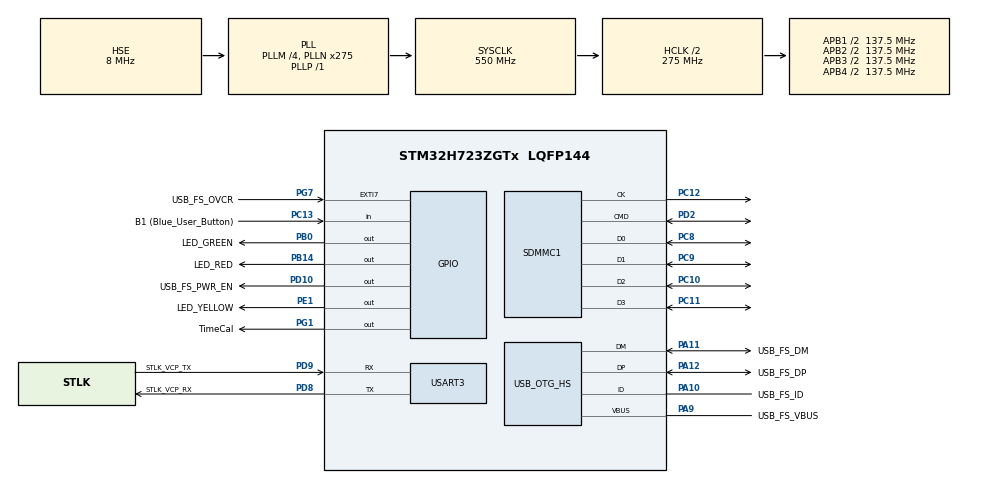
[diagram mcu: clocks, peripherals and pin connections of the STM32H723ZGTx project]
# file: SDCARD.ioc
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CORTEX_M7.CPU_DCache=Disabled
CORTEX_M7.CPU_ICache=Disabled
CORTEX_M7.Enable-Cortex_Memory_Protection_Unit_Region0_Settings=MPU_REGION_ENABLE
CORTEX_M7.MPU_Control=__NULL
FATFS.BSP.number=1
FATFS.USE_DMA_CODE_SD=1
FATFS._MAX_SS=512
FATFS0.BSP.STBoard=false
FATFS0.BSP.api=Unknown
FATFS0.BSP.i2caddr=0
FATFS0.BSP.instance=PC13
FATFS0.BSP.ip=GPIO
FATFS0.BSP.mode=Input
FATFS0.BSP.name=Detect_SDIO
FATFS0.BSP.solution=PC13
FREERTOS.Tasks01=SD_INT,23,8192,StartDefaultTask,Default,NULL,Dynamic,NULL,NULL;TimeCal,24,128,StartTimeCal,Default,NULL,Dynamic,NULL,NULL
FREERTOS.configENABLE_FPU=1
FREERTOS.configTOTAL_HEAP_SIZE=75000
FREERTOS.configUSE_NEWLIB_REENTRANT=1
Mcu.Family=STM32H7
Mcu.Name=STM32H723ZGTx
Mcu.Package=LQFP144
Mdma.MDMA_Channel0.Request0=SDMMC1_END_DATA
Mdma.MDMA_Channel0.RequestsNb=1
Mdma.MDMA_Channel0.SDMMC1_END_DATA.0.BlockCount=0
Mdma.MDMA_Channel0.SDMMC1_END_DATA.0.BlockDataLength=0
Mdma.MDMA_Channel0.SDMMC1_END_DATA.0.BufferTransferLength=1
Mdma.MDMA_Channel0.SDMMC1_END_DATA.0.CircularMode=MDMA_LINEAR_LIST
Mdma.MDMA_Channel0.SDMMC1_END_DATA.0.DataAlignment=MDMA_DATAALIGN_PACKENABLE
Mdma.MDMA_Channel0.SDMMC1_END_DATA.0.DestBlockAddressOffset=0
Mdma.MDMA_Channel0.SDMMC1_END_DATA.0.DestBurst=MDMA_DEST_BURST_SINGLE
Mdma.MDMA_Channel0.SDMMC1_END_DATA.0.DestDataSize=MDMA_DEST_DATASIZE_BYTE
Mdma.MDMA_Channel0.SDMMC1_END_DATA.0.DestinationInc=MDMA_DEST_INC_BYTE
Mdma.MDMA_Channel0.SDMMC1_END_DATA.0.DstAddress=0
Mdma.MDMA_Channel0.SDMMC1_END_DATA.0.Endianness=MDMA_LITTLE_ENDIANNESS_PRESERVE
Mdma.MDMA_Channel0.SDMMC1_END_DATA.0.Instance=MDMA_Channel0
Mdma.MDMA_Channel0.SDMMC1_END_DATA.0.MaskAddress=0
Mdma.MDMA_Channel0.SDMMC1_END_DATA.0.MaskData=0
Mdma.MDMA_Channel0.SDMMC1_END_DATA.0.Priority=MDMA_PRIORITY_HIGH
Mdma.MDMA_Channel0.SDMMC1_END_DATA.0.Rank=First
Mdma.MDMA_Channel0.SDMMC1_END_DATA.0.SourceBlockAddressOffset=0
Mdma.MDMA_Channel0.SDMMC1_END_DATA.0.SourceBurst=MDMA_SOURCE_BURST_SINGLE
Mdma.MDMA_Channel0.SDMMC1_END_DATA.0.SourceDataSize=MDMA_SRC_DATASIZE_BYTE
Mdma.MDMA_Channel0.SDMMC1_END_DATA.0.SourceInc=MDMA_SRC_INC_BYTE
Mdma.MDMA_Channel0.SDMMC1_END_DATA.0.SrcAddress=0
Mdma.MDMA_Channel0.SDMMC1_END_DATA.0.TransferTriggerMode=MDMA_BUFFER_TRANSFER
Mdma.RequestSet0=MDMA_Channel0
Mdma.RequestSetsNb=1
NVIC.MDMA_IRQn=true\:5\:0\:true\:false\:true\:true\:true\:true
NVIC.PriorityGroup=NVIC_PRIORITYGROUP_4
NVIC.SDMMC1_IRQn=true\:5\:0\:true\:false\:true\:true\:true\:true
NVIC.TIM1_UP_IRQn=true\:15\:0\:false\:false\:true\:false\:true\:true
NVIC.TimeBase=TIM1_UP_IRQn
NVIC.TimeBaseIP=TIM1
PA1.GPIO_Label=RMII_REF_CLK
PA1.Signal=ETH_REF_CLK
PA10.GPIO_Label=USB_FS_ID
PA10.Mode=OTG/Dual-Role-Device-FS
PA10.Signal=USB_OTG_HS_ID
PA11.GPIO_Label=USB_FS_DM
PA11.Mode=OTG/Dual-Role-Device-FS
PA11.Signal=USB_OTG_HS_DM
PA12.GPIO_Label=USB_FS_DP
PA12.Mode=OTG/Dual-Role-Device-FS
PA12.Signal=USB_OTG_HS_DP
PA13(JTMS/SWDIO).GPIO_Label=SWDIO
PA13(JTMS/SWDIO).Mode=Trace_Asynchronous_SW
PA13(JTMS/SWDIO).Signal=DEBUG_JTMS-SWDIO
PA14(JTCK/SWCLK).GPIO_Label=SWCLK
PA14(JTCK/SWCLK).Mode=Trace_Asynchronous_SW
PA14(JTCK/SWCLK).Signal=DEBUG_JTCK-SWCLK
PA2.GPIO_Label=RMII_MDIO
PA2.Signal=ETH_MDIO
PA7.GPIO_Label=RMII_CRS_DV
PA7.Signal=ETH_CRS_DV
PA9.GPIO_Label=USB_FS_VBUS
PA9.Mode=Activate_VBUS_FS
PA9.Signal=USB_OTG_HS_VBUS
PB0.GPIO_Label=LED_GREEN
PB0.Signal=GPIO_Output
PB13.GPIO_Label=RMII_TXD1
PB13.Signal=ETH_TXD1
PB14.GPIO_Label=LED_RED
PB14.Signal=GPIO_Output
PB3(JTDO/TRACESWO).GPIO_Label=SWO
PB3(JTDO/TRACESWO).Mode=Trace_Asynchronous_SW
PB3(JTDO/TRACESWO).Signal=DEBUG_JTDO-SWO
PC1.GPIO_Label=RMII_MDC
PC1.Signal=ETH_MDC
PC10.Mode=SD_4_bits_Wide_bus
PC10.Signal=SDMMC1_D2
PC11.Mode=SD_4_bits_Wide_bus
PC11.Signal=SDMMC1_D3
PC12.Mode=SD_4_bits_Wide_bus
PC12.Signal=SDMMC1_CK
PC13.GPIO_Label=B1 (Blue_User_Button)
PC13.Signal=GPIO_Input
PC14-OSC32_IN.Mode=LSE-External-Oscillator
PC14-OSC32_IN.Signal=RCC_OSC32_IN
PC15-OSC32_OUT.Mode=LSE-External-Oscillator
PC15-OSC32_OUT.Signal=RCC_OSC32_OUT
PC4.GPIO_Label=RMII_RXD0
PC4.Signal=ETH_RXD0
PC5.GPIO_Label=RMII_RXD1
PC5.Signal=ETH_RXD1
PC8.Mode=SD_4_bits_Wide_bus
PC8.Signal=SDMMC1_D0
PC9.Mode=SD_4_bits_Wide_bus
PC9.Signal=SDMMC1_D1
PD10.GPIO_Label=USB_FS_PWR_EN
PD10.Signal=GPIO_Output
PD2.Mode=SD_4_bits_Wide_bus
PD2.Signal=SDMMC1_CMD
PD8.GPIO_Label=STLK_VCP_RX
PD8.Mode=Asynchronous
PD8.Signal=USART3_TX
PD9.GPIO_Label=STLK_VCP_TX
PD9.Mode=Asynchronous
PD9.Signal=USART3_RX
PE1.GPIO_Label=LED_YELLOW
PE1.Signal=GPIO_Output
PG1.GPIO_Label=TimeCal
PG1.PinState=GPIO_PIN_SET
PG1.Signal=GPIO_Output
PG11.GPIO_Label=RMII_TX_EN
PG11.Signal=ETH_TX_EN
PG13.GPIO_Label=RMII_TXD0
PG13.Signal=ETH_TXD0
PG7.GPIO_Label=USB_FS_OVCR
PG7.Signal=GPXTI7
PH0-OSC_IN.GPIO_Label=MCO
PH0-OSC_IN.Mode=HSE-External-Clock-Source
PH0-OSC_IN.Signal=RCC_OSC_IN
PH1-OSC_OUT.Signal=RCC_OSC_OUT
ProjectManager.HeapSize=0x400
ProjectManager.StackSize=0x800
ProjectManager.TargetToolchain=STM32CubeIDE
RCC.ADCCLockSelection=RCC_ADCCLKSOURCE_PLL2
RCC.ADCFreq_Value=100000000
RCC.APB1Freq_Value=137500000
RCC.APB2Freq_Value=137500000
RCC.APB3Freq_Value=137500000
RCC.APB4Freq_Value=137500000
RCC.CECCLockSelection=RCC_CECCLKSOURCE_LSI
RCC.CKPERSourceSelection=RCC_CLKPSOURCE_HSI
RCC.CSI_VALUE=4000000
RCC.CortexFreq_Value=550000000
RCC.Cortex_DivARG=SystemCoreClock/1000
RCC.D1PPRE=RCC_APB3_DIV2
RCC.D2PPRE1=RCC_APB1_DIV2
RCC.D2PPRE2=RCC_APB2_DIV2
RCC.D3PPRE=RCC_APB4_DIV2
RCC.DFSDMCLockSelection=RCC_DFSDM1CLKSOURCE_D2PCLK1
RCC.DIVM1=4
RCC.DIVM2=1
RCC.DIVN1=275
RCC.DIVN2=25
RCC.DIVP1=1
RCC.DIVQ1=5
RCC.DSICLockSelection=RCC_DSICLKSOURCE_PHY
RCC.DSIPHY_Div=8
RCC.DSITX_Div=4
RCC.DSI_PHY_VALUE=12288000
RCC.EXTERNAL_CLOCK_VALUE=12288000
RCC.FDCANCLockSelection=RCC_FDCANCLKSOURCE_PLL
RCC.FMCCLockSelection=RCC_FMCCLKSOURCE_D1HCLK
RCC.HCLKFreq_Value=275000000
RCC.HPRE=RCC_HCLK_DIV2
RCC.HSE_VALUE=8000000
RCC.HSI48_VALUE=48000000
RCC.HSI_VALUE=64000000
RCC.I2C123CLockSelection=RCC_I2C1235CLKSOURCE_D2PCLK1
RCC.I2C4CLockSelection=RCC_I2C4CLKSOURCE_D3PCLK1
RCC.LPTIM1CLockSelection=RCC_LPTIM1CLKSOURCE_D2PCLK1
RCC.LPTIM2CLockSelection=RCC_LPTIM2CLKSOURCE_D3PCLK1
RCC.LPTIM345CLockSelection=RCC_LPTIM345CLKSOURCE_D3PCLK1
RCC.LPUART1CLockSelection=RCC_LPUART1CLKSOURCE_D3PCLK1
RCC.PLL2FRACN=0
RCC.PLL3FRACN=0
RCC.PLLDSIDev=2
RCC.PLLDSIIDF=DSI_PLL_IN_DIV1
RCC.PLLDSIMult=2
RCC.PLLDSINDIV=20
RCC.PLLDSIODF=DSI_PLL_OUT_DIV1
RCC.PLLFRACN=0
RCC.PLLSourceVirtual=RCC_PLLSOURCE_HSE
RCC.QSPICLockSelection=RCC_OSPICLKSOURCE_D1HCLK
RCC.RCC_MCO1Source=RCC_MCO1SOURCE_HSI
RCC.RCC_MCO2Source=RCC_MCO2SOURCE_SYSCLK
RCC.RNGCLockSelection=RCC_RNGCLKSOURCE_HSI48
RCC.SAI1CLockSelection=RCC_SAI1CLKSOURCE_PLL
RCC.SAI4ACLockSelection=RCC_SAI4ACLKSOURCE_PLL
RCC.SAI4BCLockSelection=RCC_SAI4BCLKSOURCE_PLL
RCC.SDMMC1CLockSelection=RCC_SDMMCCLKSOURCE_PLL2
RCC.SPDIFCLockSelection=RCC_SPDIFRXCLKSOURCE_PLL
RCC.SPI123CLockSelection=RCC_SPI123CLKSOURCE_PLL
RCC.SPI6CLockSelection=RCC_SPI6CLKSOURCE_D3PCLK1
RCC.SWPCLockSelection=RCC_SWPMI1CLKSOURCE_D2PCLK1
RCC.SYSCLKFreq_VALUE=550000000
RCC.SYSCLKSource=RCC_SYSCLKSOURCE_PLLCLK
RCC.Spi45ClockSelection=RCC_SPI45CLKSOURCE_D2PCLK1
RCC.USART16CLockSelection=RCC_USART16910CLKSOURCE_D2PCLK2
RCC.USART234578CLockSelection=RCC_USART234578CLKSOURCE_D2PCLK1
RCC.USBCLockSelection=RCC_USBCLKSOURCE_HSI48
RCC.USBFreq_Value=48000000
SDMMC1.ClockDiv=1
SDMMC1.ClockPowerSave=SDMMC_CLOCK_POWER_SAVE_ENABLE
USART3.VirtualMode-Asynchronous=VM_ASYNC
VP_FATFS_VS_SDIO.Mode=SDIO
VP_FREERTOS_VS_CMSIS_V2.Mode=CMSIS_V2
VP_SYS_VS_tim1.Mode=TIM1
board=NUCLEO-H723ZG

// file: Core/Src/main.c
/* USER CODE BEGIN Header */
/**
  ******************************************************************************
  * @file           : main.c
  * @brief          : Main program body
  ******************************************************************************
  * @attention
  *
  * Copyright (c) 2022 STMicroelectronics.
  * All rights reserved.
  *
  * This software is licensed under terms that can be found in the LICENSE file
  * in the root directory of this software component.
  * If no LICENSE file comes with this software, it is provided AS-IS.
  *
  ******************************************************************************
  */
/* USER CODE END Header */
#include "main.h"
#include "cmsis_os.h"
#include "fatfs.h"

/* USER CODE BEGIN Includes */
#include "commands.h"
#include "stdio.h"
#include "helpercmd.h"
#include "SDInterface.h"
#include "string.h"
/* USER CODE END Includes */

/* USER CODE BEGIN PTD */
#define chunk_mult 64
#define chunk_size 512*chunk_mult
/* USER CODE END PTD */

/* USER CODE BEGIN PD */
void WriteTime();
static void FS_SPAM(void);
static void FS_MOUNT(void);
/* USER CODE END PD */

/* USER CODE BEGIN PM */
static uint8_t isInitialized = 0;
static uint8_t isFsCreated = 1;
/* USER CODE END PM */

SD_HandleTypeDef hsd1;

UART_HandleTypeDef huart3;

MDMA_HandleTypeDef hmdma_mdma_channel40_sdmmc1_end_data_0;
/* Definitions for SD_INT */
osThreadId_t SD_INTHandle;
const osThreadAttr_t SD_INT_attributes = {
  .name = "SD_INT",
  .stack_size = 8192 * 4,
  .priority = (osPriority_t) osPriorityBelowNormal7,
};
/* Definitions for TimeCal */
osThreadId_t TimeCalHandle;
const osThreadAttr_t TimeCal_attributes = {
  .name = "TimeCal",
  .stack_size = 128 * 4,
  .priority = (osPriority_t) osPriorityNormal,
};
/* USER CODE BEGIN PV */
uint8_t workBuffer[_MAX_SS];
/* USER CODE END PV */

void SystemClock_Config(void);
static void MX_GPIO_Init(void);
static void MX_USART3_UART_Init(void);
static void MX_MDMA_Init(void);
static void MX_SDMMC1_SD_Init(void);
static void MX_USB_OTG_HS_USB_Init(void);
void StartDefaultTask(void *argument);
void StartTimeCal(void *argument);

/* USER CODE BEGIN 0 */
FRESULT res;
uint32_t byteswritten, bytesread;

//char wtext[chunk_size]={0};

char text[] = "empty place holder that needs length";
const char * file_name[] = {"MyFile.hex"};
//uint8_t rtext[_MAX_SS];

// SD card variables for FATFS
extern char SDPath[4]; 	/* SD logical drive path */
extern FATFS SDFatFS;	/* File system object for SD logical drive */
extern FIL SDFile;		/* File object for SD */

FRESULT res;
uint32_t byteswritten, bytesread;
uint8_t stext[chunk_size] = "This is me, and my own world";
uint8_t rtext[100];
/* USER CODE END 0 */

int main(void)
{
  /* USER CODE BEGIN 1 */
	HalfKBWrite(stext,chunk_mult);
  /* USER CODE END 1 */

  /* MCU Configuration--------------------------------------------------------*/

  /* Reset of all peripherals, Initializes the Flash interface and the Systick. */
  HAL_Init();

  /* Configure the system clock */
  SystemClock_Config();

  /* Initialize all configured peripherals */
  MX_GPIO_Init();
  MX_USART3_UART_Init();
  MX_MDMA_Init();
  MX_SDMMC1_SD_Init();
  MX_FATFS_Init();
  MX_USB_OTG_HS_USB_Init();
  /* USER CODE BEGIN 2 */

	HAL_GPIO_WritePin(LED_GREEN_GPIO_Port,LED_GREEN_Pin,SET);
  /* USER CODE END 2 */

  /* Init scheduler */
  osKernelInitialize();

  /* Create the thread(s) */
  /* creation of SD_INT */
  SD_INTHandle = osThreadNew(StartDefaultTask, NULL, &SD_INT_attributes);

  /* creation of TimeCal */
  TimeCalHandle = osThreadNew(StartTimeCal, NULL, &TimeCal_attributes);

  /* Start scheduler */
  osKernelStart();

  /* We should never get here as control is now taken by the scheduler */
  /* Infinite loop */
  /* USER CODE BEGIN WHILE */

//  char str[80]={0};
//  HAL_UART_Transmit(&huart3, (uint8_t*)str, sprintf(str, "time taken %d \r\n", timestop-timestart), 10);
  Error_Handler();
    while (1)
  {

    /* USER CODE END WHILE */

  }
}

void SystemClock_Config(void)
{
  RCC_OscInitTypeDef RCC_OscInitStruct = {0};
  RCC_ClkInitTypeDef RCC_ClkInitStruct = {0};

  /** Supply configuration update enable
  */
  HAL_PWREx_ConfigSupply(PWR_LDO_SUPPLY);
  /** Configure the main internal regulator output voltage
  */
  __HAL_PWR_VOLTAGESCALING_CONFIG(PWR_REGULATOR_VOLTAGE_SCALE0);

  while(!__HAL_PWR_GET_FLAG(PWR_FLAG_VOSRDY)) {}
  /** Macro to configure the PLL clock source
  */
  __HAL_RCC_PLL_PLLSOURCE_CONFIG(RCC_PLLSOURCE_HSE);
  /** Initializes the RCC Oscillators according to the specified parameters
  * in the RCC_OscInitTypeDef structure.
  */
  RCC_OscInitStruct.OscillatorType = RCC_OSCILLATORTYPE_HSI48|RCC_OSCILLATORTYPE_HSE;
  RCC_OscInitStruct.HSEState = RCC_HSE_BYPASS;
  RCC_OscInitStruct.HSI48State = RCC_HSI48_ON;
  RCC_OscInitStruct.PLL.PLLState = RCC_PLL_ON;
  RCC_OscInitStruct.PLL.PLLSource = RCC_PLLSOURCE_HSE;
  RCC_OscInitStruct.PLL.PLLM = 4;
  RCC_OscInitStruct.PLL.PLLN = 275;
  RCC_OscInitStruct.PLL.PLLP = 1;
  RCC_OscInitStruct.PLL.PLLQ = 5;
  RCC_OscInitStruct.PLL.PLLR = 2;
  RCC_OscInitStruct.PLL.PLLRGE = RCC_PLL1VCIRANGE_1;
  RCC_OscInitStruct.PLL.PLLVCOSEL = RCC_PLL1VCOWIDE;
  RCC_OscInitStruct.PLL.PLLFRACN = 0;
  if (HAL_RCC_OscConfig(&RCC_OscInitStruct) != HAL_OK)
  {
    Error_Handler();
  }
  /** Initializes the CPU, AHB and APB buses clocks
  */
  RCC_ClkInitStruct.ClockType = RCC_CLOCKTYPE_HCLK|RCC_CLOCKTYPE_SYSCLK
                              |RCC_CLOCKTYPE_PCLK1|RCC_CLOCKTYPE_PCLK2
                              |RCC_CLOCKTYPE_D3PCLK1|RCC_CLOCKTYPE_D1PCLK1;
  RCC_ClkInitStruct.SYSCLKSource = RCC_SYSCLKSOURCE_PLLCLK;
  RCC_ClkInitStruct.SYSCLKDivider = RCC_SYSCLK_DIV1;
  RCC_ClkInitStruct.AHBCLKDivider = RCC_HCLK_DIV2;
  RCC_ClkInitStruct.APB3CLKDivider = RCC_APB3_DIV2;
  RCC_ClkInitStruct.APB1CLKDivider = RCC_APB1_DIV2;
  RCC_ClkInitStruct.APB2CLKDivider = RCC_APB2_DIV2;
  RCC_ClkInitStruct.APB4CLKDivider = RCC_APB4_DIV2;

  if (HAL_RCC_ClockConfig(&RCC_ClkInitStruct, FLASH_LATENCY_3) != HAL_OK)
  {
    Error_Handler();
  }
}

static void MX_SDMMC1_SD_Init(void)
{

  hsd1.Instance = SDMMC1;
  hsd1.Init.ClockEdge = SDMMC_CLOCK_EDGE_RISING;
  hsd1.Init.ClockPowerSave = SDMMC_CLOCK_POWER_SAVE_ENABLE;
  hsd1.Init.BusWide = SDMMC_BUS_WIDE_4B;
  hsd1.Init.HardwareFlowControl = SDMMC_HARDWARE_FLOW_CONTROL_DISABLE;
  hsd1.Init.ClockDiv = 1;
  /* USER CODE BEGIN SDMMC1_Init 2 */
  __HAL_RCC_SDMMC1_FORCE_RESET();
  __HAL_RCC_SDMMC1_RELEASE_RESET();
  /* USER CODE END SDMMC1_Init 2 */

}

static void MX_USART3_UART_Init(void)
{

  huart3.Instance = USART3;
  huart3.Init.BaudRate = 115200;
  huart3.Init.WordLength = UART_WORDLENGTH_8B;
  huart3.Init.StopBits = UART_STOPBITS_1;
  huart3.Init.Parity = UART_PARITY_NONE;
  huart3.Init.Mode = UART_MODE_TX_RX;
  huart3.Init.HwFlowCtl = UART_HWCONTROL_NONE;
  huart3.Init.OverSampling = UART_OVERSAMPLING_16;
  huart3.Init.OneBitSampling = UART_ONE_BIT_SAMPLE_DISABLE;
  huart3.Init.ClockPrescaler = UART_PRESCALER_DIV1;
  huart3.AdvancedInit.AdvFeatureInit = UART_ADVFEATURE_NO_INIT;
  if (HAL_UART_Init(&huart3) != HAL_OK)
  {
    Error_Handler();
  }
  if (HAL_UARTEx_SetTxFifoThreshold(&huart3, UART_TXFIFO_THRESHOLD_1_8) != HAL_OK)
  {
    Error_Handler();
  }
  if (HAL_UARTEx_SetRxFifoThreshold(&huart3, UART_RXFIFO_THRESHOLD_1_8) != HAL_OK)
  {
    Error_Handler();
  }
  if (HAL_UARTEx_DisableFifoMode(&huart3) != HAL_OK)
  {
    Error_Handler();
  }

}

static void MX_USB_OTG_HS_USB_Init(void)
{

}

/**
  * Enable MDMA controller clock
  * Configure MDMA for global transfers
  *   hmdma_mdma_channel40_sdmmc1_end_data_0
  */
static void MX_MDMA_Init(void)
{

  /* MDMA controller clock enable */
  __HAL_RCC_MDMA_CLK_ENABLE();
  /* Local variables */

  /* Configure MDMA channel MDMA_Channel0 */
  /* Configure MDMA request hmdma_mdma_channel40_sdmmc1_end_data_0 on MDMA_Channel0 */
  hmdma_mdma_channel40_sdmmc1_end_data_0.Instance = MDMA_Channel0;
  hmdma_mdma_channel40_sdmmc1_end_data_0.Init.Request = MDMA_REQUEST_SDMMC1_END_DATA;
  hmdma_mdma_channel40_sdmmc1_end_data_0.Init.TransferTriggerMode = MDMA_BUFFER_TRANSFER;
  hmdma_mdma_channel40_sdmmc1_end_data_0.Init.Priority = MDMA_PRIORITY_HIGH;
  hmdma_mdma_channel40_sdmmc1_end_data_0.Init.Endianness = MDMA_LITTLE_ENDIANNESS_PRESERVE;
  hmdma_mdma_channel40_sdmmc1_end_data_0.Init.SourceInc = MDMA_SRC_INC_BYTE;
  hmdma_mdma_channel40_sdmmc1_end_data_0.Init.DestinationInc = MDMA_DEST_INC_BYTE;
  hmdma_mdma_channel40_sdmmc1_end_data_0.Init.SourceDataSize = MDMA_SRC_DATASIZE_BYTE;
  hmdma_mdma_channel40_sdmmc1_end_data_0.Init.DestDataSize = MDMA_DEST_DATASIZE_BYTE;
  hmdma_mdma_channel40_sdmmc1_end_data_0.Init.DataAlignment = MDMA_DATAALIGN_PACKENABLE;
  hmdma_mdma_channel40_sdmmc1_end_data_0.Init.BufferTransferLength = 1;
  hmdma_mdma_channel40_sdmmc1_end_data_0.Init.SourceBurst = MDMA_SOURCE_BURST_SINGLE;
  hmdma_mdma_channel40_sdmmc1_end_data_0.Init.DestBurst = MDMA_DEST_BURST_SINGLE;
  hmdma_mdma_channel40_sdmmc1_end_data_0.Init.SourceBlockAddressOffset = 0;
  hmdma_mdma_channel40_sdmmc1_end_data_0.Init.DestBlockAddressOffset = 0;
  if (HAL_MDMA_Init(&hmdma_mdma_channel40_sdmmc1_end_data_0) != HAL_OK)
  {
    Error_Handler();
  }

  /* Configure post request address and data masks */
  if (HAL_MDMA_ConfigPostRequestMask(&hmdma_mdma_channel40_sdmmc1_end_data_0, 0, 0) != HAL_OK)
  {
    Error_Handler();
  }

  /* MDMA interrupt initialization */
  /* MDMA_IRQn interrupt configuration */
  HAL_NVIC_SetPriority(MDMA_IRQn, 5, 0);
  HAL_NVIC_EnableIRQ(MDMA_IRQn);

}

static void MX_GPIO_Init(void)
{
  GPIO_InitTypeDef GPIO_InitStruct = {0};

  /* GPIO Ports Clock Enable */
  __HAL_RCC_GPIOC_CLK_ENABLE();
  __HAL_RCC_GPIOH_CLK_ENABLE();
  __HAL_RCC_GPIOA_CLK_ENABLE();
  __HAL_RCC_GPIOB_CLK_ENABLE();
  __HAL_RCC_GPIOG_CLK_ENABLE();
  __HAL_RCC_GPIOD_CLK_ENABLE();
  __HAL_RCC_GPIOE_CLK_ENABLE();

  /*Configure GPIO pin Output Level */
  HAL_GPIO_WritePin(GPIOB, LED_GREEN_Pin|LED_RED_Pin, GPIO_PIN_RESET);

  /*Configure GPIO pin Output Level */
  HAL_GPIO_WritePin(TimeCal_GPIO_Port, TimeCal_Pin, GPIO_PIN_SET);

  /*Configure GPIO pin Output Level */
  HAL_GPIO_WritePin(USB_FS_PWR_EN_GPIO_Port, USB_FS_PWR_EN_Pin, GPIO_PIN_RESET);

  /*Configure GPIO pin Output Level */
  HAL_GPIO_WritePin(LED_YELLOW_GPIO_Port, LED_YELLOW_Pin, GPIO_PIN_RESET);

  /*Configure GPIO pin : B1_Pin */
  GPIO_InitStruct.Pin = B1_Pin;
  GPIO_InitStruct.Mode = GPIO_MODE_INPUT;
  GPIO_InitStruct.Pull = GPIO_NOPULL;
  HAL_GPIO_Init(B1_GPIO_Port, &GPIO_InitStruct);

  /*Configure GPIO pins : RMII_MDC_Pin RMII_RXD0_Pin RMII_RXD1_Pin */
  GPIO_InitStruct.Pin = RMII_MDC_Pin|RMII_RXD0_Pin|RMII_RXD1_Pin;
  GPIO_InitStruct.Mode = GPIO_MODE_AF_PP;
  GPIO_InitStruct.Pull = GPIO_NOPULL;
  GPIO_InitStruct.Speed = GPIO_SPEED_FREQ_LOW;
  GPIO_InitStruct.Alternate = GPIO_AF11_ETH;
  HAL_GPIO_Init(GPIOC, &GPIO_InitStruct);

  /*Configure GPIO pins : RMII_REF_CLK_Pin RMII_MDIO_Pin RMII_CRS_DV_Pin */
  GPIO_InitStruct.Pin = RMII_REF_CLK_Pin|RMII_MDIO_Pin|RMII_CRS_DV_Pin;
  GPIO_InitStruct.Mode = GPIO_MODE_AF_PP;
  GPIO_InitStruct.Pull = GPIO_NOPULL;
  GPIO_InitStruct.Speed = GPIO_SPEED_FREQ_LOW;
  GPIO_InitStruct.Alternate = GPIO_AF11_ETH;
  HAL_GPIO_Init(GPIOA, &GPIO_InitStruct);

  /*Configure GPIO pins : LED_GREEN_Pin LED_RED_Pin */
  GPIO_InitStruct.Pin = LED_GREEN_Pin|LED_RED_Pin;
  GPIO_InitStruct.Mode = GPIO_MODE_OUTPUT_PP;
  GPIO_InitStruct.Pull = GPIO_NOPULL;
  GPIO_InitStruct.Speed = GPIO_SPEED_FREQ_LOW;
  HAL_GPIO_Init(GPIOB, &GPIO_InitStruct);

  /*Configure GPIO pin : TimeCal_Pin */
  GPIO_InitStruct.Pin = TimeCal_Pin;
  GPIO_InitStruct.Mode = GPIO_MODE_OUTPUT_PP;
  GPIO_InitStruct.Pull = GPIO_NOPULL;
  GPIO_InitStruct.Speed = GPIO_SPEED_FREQ_LOW;
  HAL_GPIO_Init(TimeCal_GPIO_Port, &GPIO_InitStruct);

  /*Configure GPIO pin : RMII_TXD1_Pin */
  GPIO_InitStruct.Pin = RMII_TXD1_Pin;
  GPIO_InitStruct.Mode = GPIO_MODE_AF_PP;
  GPIO_InitStruct.Pull = GPIO_NOPULL;
  GPIO_InitStruct.Speed = GPIO_SPEED_FREQ_LOW;
  GPIO_InitStruct.Alternate = GPIO_AF11_ETH;
  HAL_GPIO_Init(RMII_TXD1_GPIO_Port, &GPIO_InitStruct);

  /*Configure GPIO pin : USB_FS_PWR_EN_Pin */
  GPIO_InitStruct.Pin = USB_FS_PWR_EN_Pin;
  GPIO_InitStruct.Mode = GPIO_MODE_OUTPUT_PP;
  GPIO_InitStruct.Pull = GPIO_NOPULL;
  GPIO_InitStruct.Speed = GPIO_SPEED_FREQ_LOW;
  HAL_GPIO_Init(USB_FS_PWR_EN_GPIO_Port, &GPIO_InitStruct);

  /*Configure GPIO pin : USB_FS_OVCR_Pin */
  GPIO_InitStruct.Pin = USB_FS_OVCR_Pin;
  GPIO_InitStruct.Mode = GPIO_MODE_IT_RISING;
  GPIO_InitStruct.Pull = GPIO_NOPULL;
  HAL_GPIO_Init(USB_FS_OVCR_GPIO_Port, &GPIO_InitStruct);

  /*Configure GPIO pin : USB_FS_VBUS_Pin */
  GPIO_InitStruct.Pin = USB_FS_VBUS_Pin;
  GPIO_InitStruct.Mode = GPIO_MODE_INPUT;
  GPIO_InitStruct.Pull = GPIO_NOPULL;
  HAL_GPIO_Init(USB_FS_VBUS_GPIO_Port, &GPIO_InitStruct);

  /*Configure GPIO pin : USB_FS_ID_Pin */
  GPIO_InitStruct.Pin = USB_FS_ID_Pin;
  GPIO_InitStruct.Mode = GPIO_MODE_AF_PP;
  GPIO_InitStruct.Pull = GPIO_NOPULL;
  GPIO_InitStruct.Speed = GPIO_SPEED_FREQ_LOW;
  GPIO_InitStruct.Alternate = GPIO_AF10_OTG1_HS;
  HAL_GPIO_Init(USB_FS_ID_GPIO_Port, &GPIO_InitStruct);

  /*Configure GPIO pins : RMII_TX_EN_Pin RMII_TXD0_Pin */
  GPIO_InitStruct.Pin = RMII_TX_EN_Pin|RMII_TXD0_Pin;
  GPIO_InitStruct.Mode = GPIO_MODE_AF_PP;
  GPIO_InitStruct.Pull = GPIO_NOPULL;
  GPIO_InitStruct.Speed = GPIO_SPEED_FREQ_LOW;
  GPIO_InitStruct.Alternate = GPIO_AF11_ETH;
  HAL_GPIO_Init(GPIOG, &GPIO_InitStruct);

  /*Configure GPIO pin : LED_YELLOW_Pin */
  GPIO_InitStruct.Pin = LED_YELLOW_Pin;
  GPIO_InitStruct.Mode = GPIO_MODE_OUTPUT_PP;
  GPIO_InitStruct.Pull = GPIO_NOPULL;
  GPIO_InitStruct.Speed = GPIO_SPEED_FREQ_LOW;
  HAL_GPIO_Init(LED_YELLOW_GPIO_Port, &GPIO_InitStruct);

}

/* USER CODE BEGIN 4 */

void WriteTime()
{
	res = f_open(&SDFile, "STM.TXT", aPLUS);
	if(res != FR_OK)
	{
		Error_Handler();
	}
	sprintf(text, "\n#######################%u\n",HAL_GetTick());
	res = f_write(&SDFile, text, strlen((char *)text), (void *)&byteswritten);
	if((byteswritten == 0) || (res != FR_OK))
	{

	}
	else
	{
		f_close(&SDFile);
	}
}

static void FS_MOUNT(void)
{
	res = f_mount(&SDFatFS, (TCHAR const*)SDPath, 0);
	if(res == FR_OK)
	{
		/* check whether the FS has been already created */
		if (isFsCreated == 0)
		{
			res = f_mkfs(SDPath, FM_ANY, 0, workBuffer, sizeof(workBuffer));
			if(res != FR_OK)
			{
				Error_Handler();
			}
		isFsCreated = 1;
		}
	}
}

static void FS_SPAM(void)
{
	res = f_open(&SDFile, "STM32.BIN", aPLUS);
	if(res == FR_OK)
	{
		for(int repeat = 0; repeat<100; repeat++)
		{
			/* Write data to the text file */
			res = f_write(&SDFile, stext, sizeof(stext), (void *)&byteswritten);
		}

		if((byteswritten > 0) && (res == FR_OK))
		{
			/* Close the open text file */
			f_close(&SDFile);
		}
	}
}

//void MX_FATFS_Init(void)
//{
//	retSD = FATFS_LinkDriver(&SD_Driver, SDPath);
//}
/* USER CODE END 4 */

void StartDefaultTask(void *argument)
{
  /* USER CODE BEGIN 5 */
	int counter = 0;
	//res = f_mkfs(SDPath, FM_ANY, 0, workBuffer, sizeof(workBuffer));
  /* Infinite loop */
	FS_MOUNT();
  for(;;)
  {
	//FS_FileOperations();
	  counter++;
	  HAL_GPIO_WritePin(LED_YELLOW_GPIO_Port,LED_YELLOW_Pin,SET);
	  WriteTime();
	  FS_SPAM();
	  WriteTime();
	  HAL_GPIO_WritePin(LED_YELLOW_GPIO_Port,LED_YELLOW_Pin,RESET);
	  osDelay(1000);
	  WriteTime();
	  HAL_GPIO_WritePin(LED_RED_GPIO_Port,LED_RED_Pin,SET);
	  osDelay(1);
	  if(counter>=1){
		  osDelay(10000);
	  }
  }
  /* USER CODE END 5 */
}

void StartTimeCal(void *argument)
{
  /* USER CODE BEGIN StartTimeCal */
  /* Infinite loop */
  for(;;)
  {
	  HAL_GPIO_TogglePin(TimeCal_GPIO_Port,TimeCal_Pin);
    osDelay(1);
  }
  /* USER CODE END StartTimeCal */
}

void HAL_TIM_PeriodElapsedCallback(TIM_HandleTypeDef *htim)
{
  if (htim->Instance == TIM1) {
    HAL_IncTick();
  }
}

void Error_Handler(void)
{
  /* USER CODE BEGIN Error_Handler_Debug */
  /* User can add his own implementation to report the HAL error return state */
	HAL_GPIO_WritePin(LED_GREEN_GPIO_Port,LED_GREEN_Pin,RESET);
	HAL_GPIO_WritePin(LED_YELLOW_GPIO_Port,LED_YELLOW_Pin,RESET);
	HAL_GPIO_WritePin(LED_RED_GPIO_Port,LED_RED_Pin,RESET);
  __disable_irq();
  while (1)
  {

  }
  /* USER CODE END Error_Handler_Debug */
}
